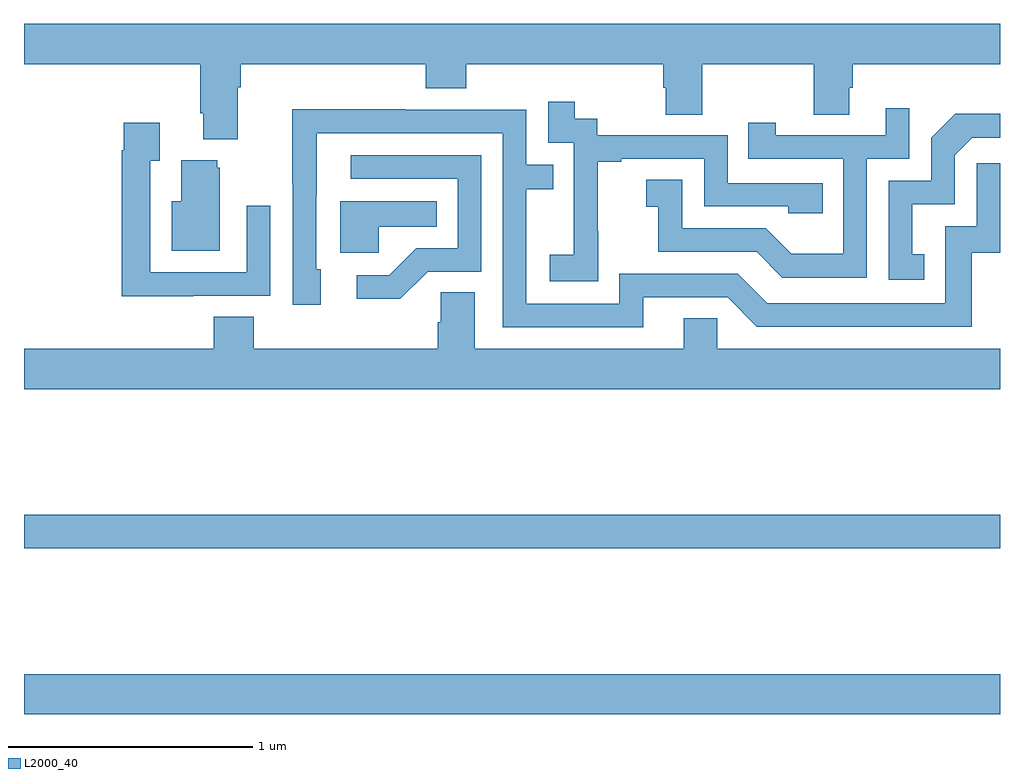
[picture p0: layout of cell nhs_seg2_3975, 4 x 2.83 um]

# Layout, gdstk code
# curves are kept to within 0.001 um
import gdstk
lib = gdstk.Library(unit=1e-6, precision=1e-09)
def R(c, l, rs):  # rectangles x0, y0, x1, y1
    for r in rs: c.add(gdstk.rectangle(r[:2], r[2:], *l))
def P(c, l, *ps):  # polygons
    for p in ps: c.add(gdstk.Polygon(p, *l))
L2000_40 = (2000, 40)

nhs_seg2_3975 = lib.new_cell('nhs_seg2_3975')
R(nhs_seg2_3975, L2000_40, [(323,602.348,327,602.512), (323,603.028,327,603.164)])
P(nhs_seg2_3975, L2000_40, [(323.875,604.916),(323.888,604.916),(323.888,605.012),(324.647,605.012),(324.647,604.913),(324.812,604.913),(324.812,605.012),(325.619,605.012),(325.619,604.914),(325.631,604.914),(325.631,604.804),(325.779,604.804),(325.779,605.012),(326.236,605.012),(326.236,604.804),(326.383,604.804),(326.383,604.914),(326.396,604.914),(326.396,605.012),(327,605.012),(327,605.176),(323,605.176),(323,605.012),(323.723,605.012),(323.723,604.81),(323.735,604.81),(323.735,604.703),(323.875,604.703)],
  [(325.353,604.327),(325.352,604.327),(325.352,604.611),(325.447,604.611),(325.447,604.623),(325.788,604.623),(325.788,604.428),(326.133,604.428),(326.133,604.401),(326.273,604.401),(326.273,604.524),(325.884,604.524),(325.884,604.719),(325.35,604.719),(325.35,604.788),(325.258,604.788),(325.258,604.858),(325.149,604.858),(325.149,604.689),(325.254,604.689),(325.254,604.46),(325.253,604.46),(325.253,604.231),(325.155,604.231),(325.155,604.121),(325.353,604.121)],
  [(326.454,604.623),(326.628,604.623),(326.628,604.831),(326.531,604.831),(326.531,604.719),(326.08,604.719),(326.08,604.771),(325.969,604.771),(325.969,604.623),(326.358,604.623),(326.358,604.234),(326.144,604.234),(326.04,604.338),(325.698,604.338),(325.698,604.537),(325.551,604.537),(325.551,604.427),(325.6,604.427),(325.6,604.242),(326.003,604.242),(326.108,604.137),(326.454,604.137)],
  [(325.537,604.056),(325.884,604.056),(326.004,603.936),(326.884,603.936),(326.884,604.239),(327,604.239),(327,604.606),(326.904,604.606),(326.904,604.347),(326.775,604.347),(326.775,604.032),(326.046,604.032),(325.926,604.152),(325.44,604.152),(325.44,604.029),(325.059,604.029),(325.059,604.498),(325.169,604.498),(325.169,604.599),(325.059,604.599),(325.059,604.824),(324.563,604.824),(324.563,604.826),(324.1,604.826),(324.1,604.519),(324.102,604.519),(324.102,604.026),(324.217,604.026),(324.217,604.17),(324.198,604.17),(324.199,604.728),(324.963,604.728),(324.963,603.933),(325.537,603.933)],
  [(326.69,604.233),(326.641,604.233),(326.641,604.437),(326.814,604.437),(326.814,604.638),(326.886,604.71),(327,604.71),(327,604.808),(326.816,604.808),(326.718,604.71),(326.718,604.533),(326.544,604.533),(326.544,604.128),(326.69,604.128)],
  [(323.693,604.062),(324.009,604.062),(324.009,604.432),(323.913,604.432),(323.913,604.158),(323.517,604.158),(323.517,604.615),(323.557,604.615),(323.557,604.771),(323.409,604.771),(323.409,604.658),(323.401,604.658),(323.401,604.061),(323.693,604.061)],
  [(324.654,604.161),(324.873,604.161),(324.873,604.638),(324.339,604.638),(324.339,604.542),(324.777,604.542),(324.777,604.257),(324.608,604.257),(324.497,604.146),(324.363,604.146),(324.363,604.049),(324.541,604.049)],
  [(323.803,604.587),(323.792,604.587),(323.792,604.618),(323.645,604.618),(323.645,604.45),(323.606,604.45),(323.606,604.247),(323.803,604.247)],
  [(324.453,604.346),(324.692,604.346),(324.692,604.45),(324.296,604.45),(324.296,604.238),(324.453,604.238)],
  [(327,603.844),(325.842,603.844),(325.842,603.971),(325.703,603.971),(325.703,603.844),(324.847,603.844),(324.847,604.076),(324.708,604.076),(324.708,603.953),(324.695,603.953),(324.695,603.844),(323.942,603.844),(323.942,603.977),(323.777,603.977),(323.777,603.844),(323,603.844),(323,603.68),(327,603.68)])

lib.write_gds('nhs_seg2_3975.gds')
